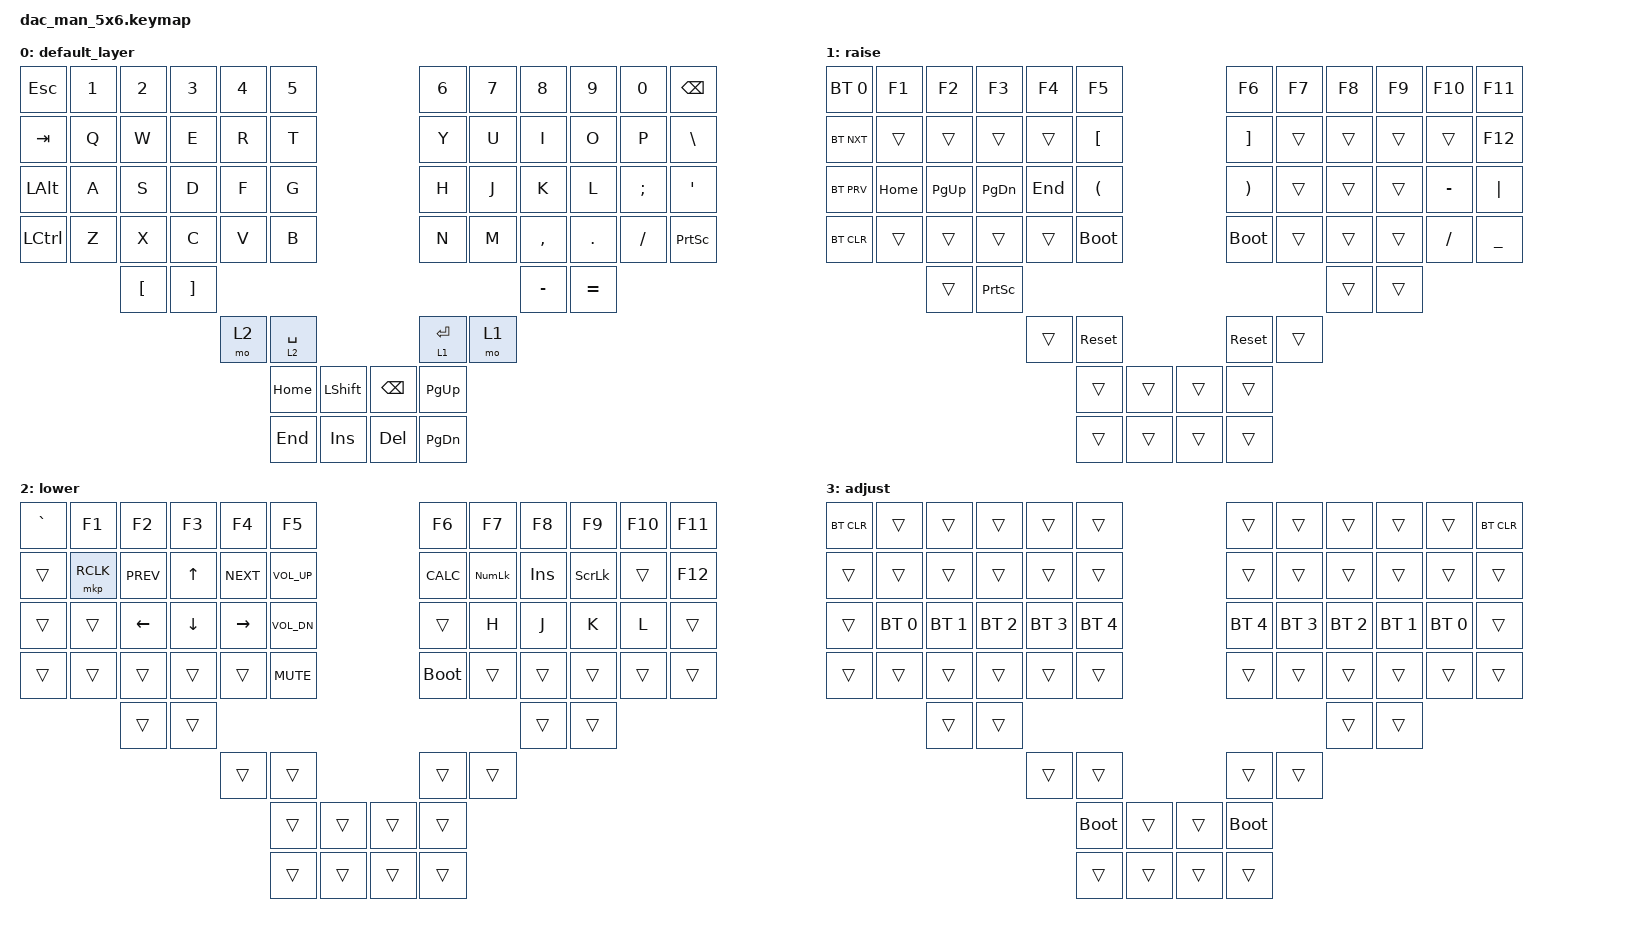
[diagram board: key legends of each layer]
#include <behaviors.dtsi>
#include <dt-bindings/zmk/bt.h>
#include <dt-bindings/zmk/keys.h>
#include <dt-bindings/zmk/pointing.h>

#define DEFAULT 0
#define RAISE   1
#define LOWER   2
#define ADJUST   3

/ {
    conditional_layers {
        compatible = "zmk,conditional-layers";

        tri_layer {
            if-layers = <LOWER RAISE>;
            then-layer = <ADJUST>;
        };
    };

    keymap {
        compatible = "zmk,keymap";

        default_layer {
            bindings = <
&kp ESC    &kp N1  &kp N2    &kp N3    &kp NUMBER_4  &kp N5                             &kp NUMBER_6  &kp N7  &kp N8     &kp N9     &kp N0         &kp BSPC
&kp TAB    &kp Q   &kp W     &kp E     &kp R         &kp T                              &kp Y         &kp U   &kp I      &kp O      &kp P          &kp BSLH
&kp LALT   &kp A   &kp S     &kp D     &kp F         &kp G                              &kp H         &kp J   &kp K      &kp L      &kp SEMICOLON  &kp SQT
&kp LCTRL  &kp Z   &kp X     &kp C     &kp V         &kp B                              &kp N         &kp M   &kp COMMA  &kp DOT    &kp FSLH       &kp PSCRN
                   &kp LBKT  &kp RBKT                                                                         &kp MINUS  &kp EQUAL
                                       &mo 2         &lt 2 SPACE                        &lt 1 ENTER   &mo 1
                                                     &kp HOME     &kp LSHIFT  &kp BSPC  &kp PG_UP
                                                     &kp END      &kp INS     &kp DEL   &kp PG_DN
            >;
        };

        raise {
            bindings = <
&bt BT_SEL 0  &kp F1    &kp F2     &kp F3     &kp F4   &kp F5                       &kp F6       &kp F7  &kp F8  &kp F9  &kp F10    &kp F11
&bt BT_NXT    &trans    &trans     &trans     &trans   &kp LBKT                     &kp RBKT     &trans  &trans  &trans  &trans     &kp F12
&bt BT_PRV    &kp HOME  &kp PG_UP  &kp PG_DN  &kp END  &kp LPAR                     &kp RPAR     &trans  &trans  &trans  &kp MINUS  &kp PIPE
&bt BT_CLR    &trans    &trans     &trans     &trans   &bootloader                  &bootloader  &trans  &trans  &trans  &kp FSLH   &kp UNDER
                        &trans     &kp PSCRN                                                             &trans  &trans
                                              &trans   &sys_reset                   &sys_reset   &trans
                                                       &trans       &trans  &trans  &trans
                                                       &trans       &trans  &trans  &trans
            >;
        };

        lower {
            bindings = <
&kp GRAVE  &kp F1     &kp F2      &kp F3        &kp F4      &kp F5                        &kp F6       &kp F7      &kp F8   &kp F9    &kp F10  &kp F11
&trans     &mkp RCLK  &kp K_PREV  &kp UP_ARROW  &kp K_NEXT  &kp C_VOL_UP                  &kp K_CALC   &kp KP_NUM  &kp INS  &kp SLCK  &trans   &kp F12
&trans     &trans     &kp LEFT    &kp DOWN      &kp RIGHT   &kp C_VOL_DN                  &trans       &kp H       &kp J    &kp K     &kp L    &trans
&trans     &trans     &trans      &trans        &trans      &kp C_MUTE                    &bootloader  &trans      &trans   &trans    &trans   &trans
                      &trans      &trans                                                                           &trans   &trans
                                                &trans      &trans                        &trans       &trans
                                                            &trans        &trans  &trans  &trans
                                                            &trans        &trans  &trans  &trans
            >;
        };

        adjust {
            bindings = <
&bt BT_CLR  &trans        &trans        &trans        &trans        &trans                        &trans        &trans        &trans        &trans        &trans        &bt BT_CLR
&trans      &trans        &trans        &trans        &trans        &trans                        &trans        &trans        &trans        &trans        &trans        &trans
&trans      &bt BT_SEL 0  &bt BT_SEL 1  &bt BT_SEL 2  &bt BT_SEL 3  &bt BT_SEL 4                  &bt BT_SEL 4  &bt BT_SEL 3  &bt BT_SEL 2  &bt BT_SEL 1  &bt BT_SEL 0  &trans
&trans      &trans        &trans        &trans        &trans        &trans                        &trans        &trans        &trans        &trans        &trans        &trans
                          &trans        &trans                                                                                &trans        &trans
                                                      &trans        &trans                        &trans        &trans
                                                                    &bootloader   &trans  &trans  &bootloader
                                                                    &trans        &trans  &trans  &trans
            >;
        };
    };
};
